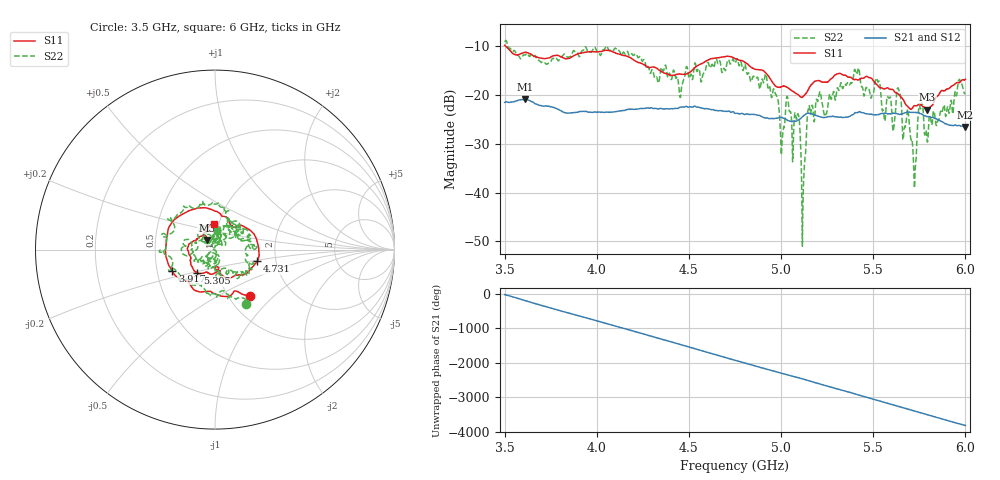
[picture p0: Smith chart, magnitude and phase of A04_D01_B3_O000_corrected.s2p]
! Created with skrf 1.9.0 (http://scikit-rf.org).
# Hz S RI R 50.0
!freq ReS11 ImS11 ReS21 ImS21 ReS12 ImS12 ReS22 ImS22
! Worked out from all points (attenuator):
!   1601 points, 3.5 GHz to 6 GHz, reference 50 ohm
!   highest |S21| = -20.96 dB at 3.609 GHz (marker M1); lowest = -26.6 dB at 6 GHz (marker M2)
!   lowest |S11| = -23.0 dB at 5.794 GHz (marker M3), VSWR 1.15, Z = 45.3 + j4.84 ohm
!   |S11| at or under -10 dB: 3.505 GHz to end of sweep
!   |S22| runs from -51.0 to -8.9 dB; largest |S21 - S12| = 0.0013
!   S11 on the Smith chart (normalised r, x): 3.5 GHz: 1.25, -0.72; 3.917 GHz: 0.60, -0.16; 4.731 GHz: 1.60, -0.22; 5.305 GHz: 0.79, -0.21; 6 GHz: 0.95, +0.28
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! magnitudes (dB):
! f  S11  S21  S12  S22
! 3.5 GHz  -9.9  -21.6  -21.6  -9.2
! 3.609 GHz  -11.3  -21.0  -21.0  -11.9
! 3.917 GHz  -11.5  -23.4  -23.4  -11.1
! 4.334 GHz  -14.9  -22.9  -22.9  -17.6
! 4.731 GHz  -12.2  -23.5  -23.5  -13.3
! 4.75 GHz  -12.6  -23.8  -23.7  -13.5
! 4.969 GHz  -18.2  -24.8  -24.8  -19.8
! 5.006 GHz  -18.3  -24.7  -24.7  -29.0
! 5.036 GHz  -18.5  -25.3  -25.2  -20.6
! 5.088 GHz  -19.9  -25.3  -25.3  -24.3
! 5.12 GHz  -20.3  -24.3  -24.3  -40.4
! 5.145 GHz  -19.1  -23.8  -23.8  -23.3
! 5.167 GHz  -17.8  -23.9  -23.9  -22.3
! 5.305 GHz  -15.7  -24.5  -24.5  -18.6
! 5.411 GHz  -16.9  -23.6  -23.7  -15.6
! 5.584 GHz  -18.7  -23.9  -23.9  -20.6
! 5.611 GHz  -19.1  -23.8  -23.7  -26.8
! 5.641 GHz  -20.0  -24.0  -24.0  -19.3
! 5.723 GHz  -22.2  -23.6  -23.6  -39.1
! 5.756 GHz  -21.9  -23.9  -23.8  -22.9
! 5.794 GHz  -23.0  -24.5  -24.5  -29.7
! 6 GHz  -16.8  -26.6  -26.5  -19.7
